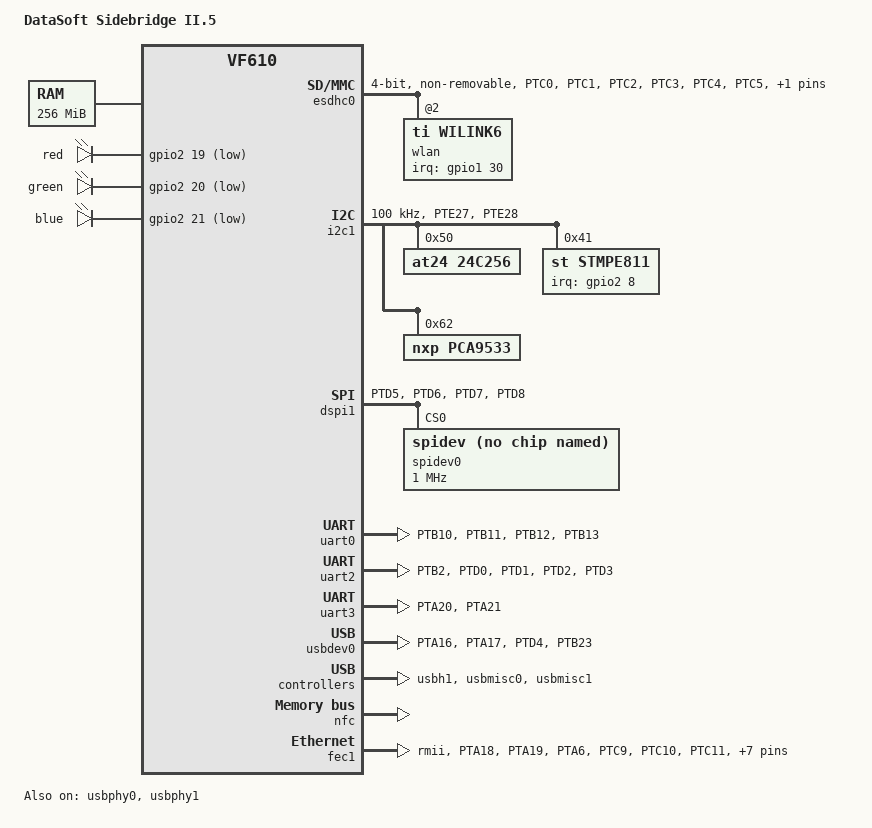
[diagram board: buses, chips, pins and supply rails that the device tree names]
/*
 * Copyright 2014 DataSoft Corporation
 * Based on vf610-twr.dts, Copyright 2013 Freescale Semiconductor, Inc.
 *
 * This program is free software; you can redistribute it and/or modify
 * it under the terms of the GNU General Public License as published by
 * the Free Software Foundation; either version 2 of the License, or
 * (at your option) any later version.
 */

/dts-v1/;
#include "vf610.dtsi"

/ {
	model = "DataSoft Sidebridge II.5";
	compatible = "ds,dsvsom", "fsl,vf610-twr", "fsl,vf610";

	chosen {
		bootargs = "console=ttyLP2,115200";
	};

	memory {
		reg = <0x80000000 0x10000000>;
	};

	aliases {
		ethernet1 = &fec1;
		mmc0 = &esdhc0;
	};

	kim {
		compatible = "kim";
		nshutdown_gpio = <22>;
		dev_name = "/dev/ttyLP0";
		flow_cntrl = <1>;
		baud_rate = <3000000>;
	};

	btwilink {
		compatible = "btwilink";
		pinctrl-names = "default";
		pinctrl-0 = <&pinctrl_bt>;
		status = "okay";
	};

	ili9341 {
		compatible = "nhd,st7789s";		/* nhd,ili9341 or nhd,st7789s */
		pinctrl-names = "default";
		pinctrl-0 = <&pinctrl_lcd>;
		status = "okay";
	};

	rfmute {
		compatible = "gpio-leds";
		red {
			gpios = <&gpio2 19 GPIO_ACTIVE_LOW>;
			default-state = "on";
		};
		green {
			gpios = <&gpio2 20 GPIO_ACTIVE_LOW>;
			default-state = "on";
		};
		blue {
			gpios = <&gpio2 21 GPIO_ACTIVE_LOW>;
			default-state = "off";
		};
	};
};

&snvs0 {
	status = "disabled";
};

&L2 {
	status = "disabled";
};

&edma0 {
	status = "okay";
};

&esdhc0 {
	pinctrl-names = "default";
	pinctrl-0 = <&pinctrl_esdhc0>;
	bus-width = <4>;
	non-removable;
	no-1-8-v;
	en-gpios = <&gpio1 23 GPIO_ACTIVE_HIGH>;		/* GPIO_TIWI_WL_EN_3V3 */
	status = "okay";

	#address-cells = <1>;
	#size-cells = <0>;
	wlan: wilink6@2 {
		compatible = "ti,wilink6";
		pinctrl-names = "default";
		pinctrl-0 = <&pinctrl_wlan>;
		reg = <2>;
		interrupt-parent = <&gpio1>;
		interrupts = <30 IRQ_TYPE_EDGE_RISING>;		/* GPIO_WLAN_NIRQ_3V3 */
		clocks = <&refclock>;
		clock-names = "refclock";

		refclock: refclock {
			compatible = "ti,wilink-clock";
			#clock-cells = <0>;
			clock-frequency = <38400000>;
		};
	};
};

&iomuxc {
	dsvsom-1168 {

		pinctrl_bt: btgrp {
			fsl,pins = <
				VF610_PAD_PTA12__GPIO_5			0x03ad /* GPIO_PB_RF_MUTE */
				VF610_PAD_PTB0__GPIO_22			0x0182 /* GPIO_TIWI_BT_EN_3V3 */
				VF610_PAD_PTB9__GPIO_31			0x0182 /* GPIO_TIWI_AUD_DIR */
				VF610_PAD_PTC6__GPIO_51			0x0182 /* GPIO_RF_MUTE_STAT_RED_LEDN */
				VF610_PAD_PTC7__GPIO_52			0x0182 /* GPIO_RF_MUTE_STAT_GRN_LEDN */
				VF610_PAD_PTC8__GPIO_53			0x0182 /* GPIO_RF_MUTE_STAT_BLU_LEDN */
			>;
		};

		pinctrl_wlan: wlangrp {
			fsl,pins = <
				VF610_PAD_PTB8__GPIO_30			0x01ad /* GPIO_WLAN_NIRQ_3V3 */
			>;
		};

		pinctrl_fec1: fec1grp {
			fsl,pins = <
				VF610_PAD_PTA18__GPIO_8			0x0182 /* GPIO_ENET1_NRESET */
				VF610_PAD_PTA19__GPIO_9			0x01ad /* GPIO_ENET1_NIRQ_OUT */
				VF610_PAD_PTA6__RMII_CLKIN		0x30df
				VF610_PAD_PTC9__ENET_RMII1_MDC		0x30df
				VF610_PAD_PTC10__ENET_RMII1_MDIO	0x30df
				VF610_PAD_PTC11__ENET_RMII1_CRS		0x30df
				VF610_PAD_PTC12__ENET_RMII1_RXD1	0x30df
				VF610_PAD_PTC13__ENET_RMII1_RXD0	0x30df
				VF610_PAD_PTC14__ENET_RMII1_RXER	0x30df
				VF610_PAD_PTC15__ENET_RMII1_TXD1	0x30df
				VF610_PAD_PTC16__ENET_RMII1_TXD0	0x30df
				VF610_PAD_PTC17__ENET_RMII1_TXEN	0x30df
			>;
		};

		pinctrl_eeprom: eepromgrp {
			fsl,pins = <
				VF610_PAD_PTB3__GPIO_25			0x0182 /* GPIO_EEP_WP */
			>;
		};

		pinctrl_cpld: cpldgrp {
			fsl,pins = <
				VF610_PAD_PTB14__GPIO_36		0x01ad /* GPIO_MCU_CPLD_SP0 */
				VF610_PAD_PTB15__GPIO_37		0x01ad /* GPIO_MCU_CPLD_SP1 */
				VF610_PAD_PTB16__GPIO_38		0x01ad /* GPIO_MCU_CPLD_SP2 */
				VF610_PAD_PTB17__GPIO_39		0x01ad /* GPIO_MCU_CPLD_SP3 */
				VF610_PAD_PTC29__GPIO_102		0x0182 /* GPIO_MCU_ZEROIZE */
				VF610_PAD_PTC30__GPIO_103		0x0182 /* GPIO_SRAM_SPI_CTRL */
				VF610_PAD_PTC31__GPIO_104		0x0182 /* GPIO_MCU_CPLD_INIT */
				VF610_PAD_PTA7__GPIO_134		0x01ad /* GPIO_SRAM_STATUS */
			>;
		};

		pinctrl_usb0: usb0grp {
			fsl,pins = <
				VF610_PAD_PTA16__USB0_VBUS_EN		0x0182
				VF610_PAD_PTA17__USB0_VBUS_OC		0x0181
				VF610_PAD_PTD4__GPIO_83			0x0182 /* GPIO_USB0_VBUS_DETCET */
				VF610_PAD_PTB23__GPIO_93		0x01ad /* GPIO_USB0_CONN_ID */
			>;
		};

		pinctrl_uart0: uart0grp {
			fsl,pins = <
				VF610_PAD_PTB10__UART0_TX		0x2182
				VF610_PAD_PTB11__UART0_RX		0x21ad
				VF610_PAD_PTB12__UART0_RTS		0x2182
				VF610_PAD_PTB13__UART0_CTS		0x21ad
			>;
		};

		pinctrl_uart2: uart2grp {
			fsl,pins = <
				VF610_PAD_PTB2__GPIO_24			0x0182 /* GPIO_RX232_EN */
				VF610_PAD_PTD0__UART2_TX		0x2182
				VF610_PAD_PTD1__UART2_RX		0x21ad
				VF610_PAD_PTD2__UART2_RTS		0x2182
				VF610_PAD_PTD3__UART2_CTS		0x21ad
			>;
		};

		pinctrl_uart3: uart3grp {
			fsl,pins = <
				VF610_PAD_PTA20__UART3_TX		0x2182
				VF610_PAD_PTA21__UART3_RX		0x21ad
			>;
		};

		pinctrl_esdhc0: esdhc0grp {
			fsl,pins = <
				VF610_PAD_PTC0__ESDHC0_CLK		0x31ef
				VF610_PAD_PTC1__ESDHC0_CMD		0x31ef
				VF610_PAD_PTC2__ESDHC0_DAT0		0x31ef
				VF610_PAD_PTC3__ESDHC0_DAT1		0x31ef
				VF610_PAD_PTC4__ESDHC0_DAT2		0x31ef
				VF610_PAD_PTC5__ESDHC0_DAT3		0x31ef
				VF610_PAD_PTB1__GPIO_23			0x0182 /* GPIO_TIWI_WL_EN_3V3 */
			>;
		};

		pinctrl_i2c1: i2c1grp {
			fsl,pins = <
				VF610_PAD_PTE27__I2C1_SCL		0x05ef
				VF610_PAD_PTE28__I2C1_SDA		0x05ef
			>;
		};

		pinctrl_spi1: spi1grp {
			fsl,pins = <
				VF610_PAD_PTD5__DSPI1_CS0		0x2182
				VF610_PAD_PTD6__DSPI1_SIN		0x21ad
				VF610_PAD_PTD7__DSPI1_SOUT		0x2182
				VF610_PAD_PTD8__DSPI1_SCK		0x2182
			>;
		};

		pinctrl_jtag: jtaggrp {
			fsl,pins = <
				VF610_PAD_PTA8__TCLK			0x31c1
				VF610_PAD_PTA9__TDI			0x31c1
				VF610_PAD_PTA10__TDO			0x31c2
				VF610_PAD_PTA11__TMS			0x31c1
			>;
		};

		pinctrl_tsc: tscgrp {
			fsl,pins = <
				VF610_PAD_PTB4__GPIO_26			0x01ad /* GPIO_TSC_GPIO0 */
				VF610_PAD_PTB5__GPIO_27			0x01ad /* GPIO_TSC_GPIO1 */
				VF610_PAD_PTB6__GPIO_28			0x01ad /* GPIO_TSC_GPIO2 */
				VF610_PAD_PTB7__GPIO_29			0x01ad /* GPIO_TSC_GPIO3 */
				VF610_PAD_PTB18__GPIO_40		0x01ad /* GPIO_TSC_INTN */
				VF610_PAD_PTE18__GPIO_123		0x03ad /* GPIO_PB_DISPLAY_PG */
			>;
		};

		pinctrl_lcd: lcdgrp {
			fsl,pins = <
				VF610_PAD_PTE0__GPIO_105		0x38df /* GPIO_DS23_D0 */
				VF610_PAD_PTE1__GPIO_106		0x38df /* GPIO_DS23_D1 */
				VF610_PAD_PTE2__GPIO_107		0x38df /* GPIO_DS23_D2 */
				VF610_PAD_PTE3__GPIO_108		0x38df /* GPIO_DS23_D3 */
				VF610_PAD_PTE4__GPIO_109		0x38df /* GPIO_DS23_D4 */
				VF610_PAD_PTE5__GPIO_110		0x38df /* GPIO_DS23_D5 */
				VF610_PAD_PTE6__GPIO_111		0x38df /* GPIO_DS23_D6 */
				VF610_PAD_PTE7__GPIO_112		0x38df /* GPIO_DS23_D7 */
				VF610_PAD_PTE8__GPIO_113		0x38df /* GPIO_DS23_D8 */
				VF610_PAD_PTE9__GPIO_114		0x38df /* GPIO_DS23_D9 */
				VF610_PAD_PTE10__GPIO_115		0x38df /* GPIO_DS23_D10 */
				VF610_PAD_PTE11__GPIO_116		0x38df /* GPIO_DS23_D11 */
				VF610_PAD_PTE12__GPIO_117		0x38df /* GPIO_DS23_D12 */
				VF610_PAD_PTE13__GPIO_118		0x38df /* GPIO_DS23_D13 */
				VF610_PAD_PTE14__GPIO_119		0x38df /* GPIO_DS23_D14 */
				VF610_PAD_PTE15__GPIO_120		0x38df /* GPIO_DS23_D15 */
				VF610_PAD_PTE21__GPIO_126		0x0182 /* GPIO_DS23_RESETN */
				VF610_PAD_PTE22__GPIO_127		0x38de /* GPIO_DS23_DAT_CMDN */
				VF610_PAD_PTE23__GPIO_128		0x38de /* GPIO_DS23_CSN */
				VF610_PAD_PTE24__GPIO_129		0x38de /* GPIO_DS23_WRN */
				VF610_PAD_PTE25__GPIO_130		0x38de /* GPIO_DS23_RDN */
				VF610_PAD_PTE26__GPIO_131		0x38de /* GPIO_DS3_IM0_8_16N */
			>;
		};
	};
};

&i2c1 {
	clock-frequency = <100000>;
	pinctrl-names = "default";
	pinctrl-0 = <&pinctrl_i2c1>;
	status = "okay";

	at24@50 {
		compatible = "at24,24c256";
		pagesize = <64>;
		reg = <0x50>;
	};

	stmpe811@41 {
		compatible = "st,stmpe811";
		reg = <0x41>;
		pinctrl-names = "default";
		pinctrl-0 = <&pinctrl_tsc>;
		irq-gpio = <&gpio2 8 IRQ_TYPE_EDGE_FALLING>;
		hold-irq-edge;

		stmpe_touchscreen {
			compatible = "st,stmpe-ts";
			reg = <0>;
			st,adc-freq = <1>;		/* 3.25 MHz ADC clock speed */
			st,ave-ctrl = <3>;		/* 8 sample average control */
			st,fraction-z = <7>;		/* 7 length fractional part in z */
			st,i-drive = <1>;		/* 50 mA typical 80 mA max current limit value */
			st,mod-12b = <1>;		/* 12-bit ADC */
			st,ref-sel = <0>;		/* internal ADC reference */
			st,sample-time = <4>;		/* ADC converstion time: 80 clocks */
			st,settling = <3>;		/* 1 ms panel driver settling time */
			st,touch-det-delay = <5>;	/* 5 ms touch detect interrupt delay */
		};
	};

	pca9533@62 {
		compatible = "nxp,pca9533";
		reg = <0x62>;
		nxp,typecodes = <0x00000055>;		/* 2-bits per code: 01 LED */
		nxp,statecodes = <0x00000055>;		/* 2-bits per code: 01 on */
	};
};

&dspi1 {
	bus-num = <1>;
	pinctrl-names = "default";
	pinctrl-0 = <&pinctrl_spi1>;
	status = "okay";

	spidev0: spi@0 {
		compatible = "spidev";
		pinctrl-names = "default";
		pinctrl-0 = <&pinctrl_cpld>;
		spi-max-frequency = <1000000>;
		reg = <0>;
	};
};

&uart0 {
	pinctrl-names = "default";
	pinctrl-0 = <&pinctrl_uart0>;
	status = "okay";
};

&uart2 {
	pinctrl-names = "default";
	pinctrl-0 = <&pinctrl_uart2>;
	status = "okay";
};

&uart3 {
	pinctrl-names = "default";
	pinctrl-0 = <&pinctrl_uart3>;
	status = "okay";
};

&usbdev0 {
	disable-over-current;
	pinctrl-names = "default";
	pinctrl-0 = <&pinctrl_usb0>;
	status = "okay";
};

&usbh1 {
	disable-over-current;
	status = "okay";
};

&usbmisc0 {
	status = "okay";
};

&usbmisc1 {
	status = "okay";
};

&usbphy0 {
	status = "okay";
};

&usbphy1 {
	status = "okay";
};

&nfc {
	nand-bus-width = <8>;
	nand-ecc-mode = "hw";
	nand-on-flash-bbt;
	clock-frequency = <33000000>;
	status = "okay";
};

&fec1 {
	phy-mode = "rmii";
	pinctrl-names = "default";
	pinctrl-0 = <&pinctrl_fec1>;
	phy-reset-duration = <10>;
	phy-reset-gpios = <&gpio1 8 0>;
	status = "okay";
};

